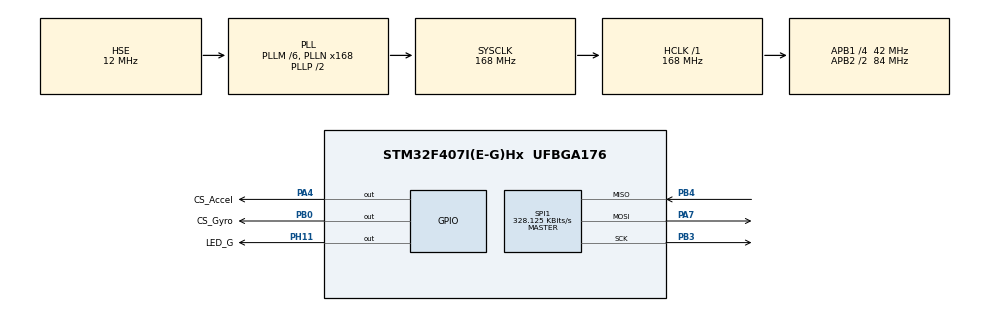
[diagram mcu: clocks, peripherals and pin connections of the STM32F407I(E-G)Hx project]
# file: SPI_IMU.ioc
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Mcu.Family=STM32F4
Mcu.Name=STM32F407I(E-G)Hx
Mcu.Package=UFBGA176
NVIC.PriorityGroup=NVIC_PRIORITYGROUP_4
NVIC.RCC_IRQn=true\:0\:0\:false\:false\:true\:true\:false\:true
NVIC.TIM1_UP_TIM10_IRQn=true\:0\:0\:false\:false\:true\:true\:true\:true
PA13.Mode=Serial_Wire
PA13.Signal=SYS_JTMS-SWDIO
PA14.Mode=Serial_Wire
PA14.Signal=SYS_JTCK-SWCLK
PA4.GPIO_Label=CS_Accel
PA4.PinState=GPIO_PIN_SET
PA4.Signal=GPIO_Output
PA7.Mode=Full_Duplex_Master
PA7.Signal=SPI1_MOSI
PB0.GPIO_Label=CS_Gyro
PB0.PinState=GPIO_PIN_SET
PB0.Signal=GPIO_Output
PB3.Mode=Full_Duplex_Master
PB3.Signal=SPI1_SCK
PB4.Mode=Full_Duplex_Master
PB4.Signal=SPI1_MISO
PH0-OSC_IN.Mode=HSE-External-Oscillator
PH0-OSC_IN.Signal=RCC_OSC_IN
PH1-OSC_OUT.Mode=HSE-External-Oscillator
PH1-OSC_OUT.Signal=RCC_OSC_OUT
PH11.GPIO_Label=LED_G
PH11.Signal=GPIO_Output
ProjectManager.HeapSize=0x200
ProjectManager.StackSize=0x400
ProjectManager.TargetToolchain=MDK-ARM V5.32
RCC.48MHZClocksFreq_Value=84000000
RCC.AHBFreq_Value=168000000
RCC.APB1CLKDivider=RCC_HCLK_DIV4
RCC.APB1Freq_Value=42000000
RCC.APB1TimFreq_Value=84000000
RCC.APB2CLKDivider=RCC_HCLK_DIV2
RCC.APB2Freq_Value=84000000
RCC.APB2TimFreq_Value=168000000
RCC.CortexFreq_Value=168000000
RCC.HCLKFreq_Value=168000000
RCC.HSE_VALUE=12000000
RCC.HSI_VALUE=16000000
RCC.LSE_VALUE=32768
RCC.PLLM=6
RCC.PLLN=168
RCC.PLLSourceVirtual=RCC_PLLSOURCE_HSE
RCC.SYSCLKFreq_VALUE=168000000
RCC.SYSCLKSource=RCC_SYSCLKSOURCE_PLLCLK
RCC.VCOOutputFreq_Value=336000000
SPI1.BaudRatePrescaler=SPI_BAUDRATEPRESCALER_256
SPI1.CLKPhase=SPI_PHASE_2EDGE
SPI1.CLKPolarity=SPI_POLARITY_HIGH
SPI1.CalculateBaudRate=328.125 KBits/s
SPI1.Direction=SPI_DIRECTION_2LINES
SPI1.Mode=SPI_MODE_MASTER
SPI1.VirtualType=VM_MASTER
TIM1.Period=9999
TIM1.Prescaler=1679
VP_TIM1_VS_ClockSourceINT.Mode=Internal
board=custom

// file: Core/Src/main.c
/* USER CODE BEGIN Header */
/**
  ******************************************************************************
  * @file           : main.c
  * @brief          : Main program body
  ******************************************************************************
  * @attention
  *
  * Copyright (c) 2024 STMicroelectronics.
  * All rights reserved.
  *
  * This software is licensed under terms that can be found in the LICENSE file
  * in the root directory of this software component.
  * If no LICENSE file comes with this software, it is provided AS-IS.
  *
  ******************************************************************************
  */
/* USER CODE END Header */
#include "main.h"
#include "spi.h"
#include "tim.h"
#include "gpio.h"
#include "IMU.h"

/* USER CODE BEGIN PV */
uint8_t tx_data={0x00};
uint8_t rx_data=0x00;
uint8_t return_acc_data[7]={0x00};
uint8_t return_gyro_data[6]={0x00};
uint8_t range_acc=0x00;
uint8_t range_acc_receive=0x00;
uint8_t range_gyro=0x00;
float acc_x=0,acc_y=0,acc_z=0;
float gyro_x=0,gyro_y=0,gyro_z=0;
/* USER CODE END PV */

void SystemClock_Config(void);

int main(void)
{

  /* MCU Configuration--------------------------------------------------------*/

  /* Reset of all peripherals, Initializes the Flash interface and the Systick. */
  HAL_Init();

  /* Configure the system clock */
  SystemClock_Config();

  /* Initialize all configured peripherals */
  MX_GPIO_Init();
  MX_SPI1_Init();
  MX_TIM1_Init();
  /* USER CODE BEGIN 2 */
  BMI088_Init();
  BMI088_ReadReg_GYRO(0x00,&rx_data, 1);
  BMI088_ACCEL_NS_L();
  BMI088_WriteReg(0x41,0x02);
  BMI088_ACCEL_NS_H();
  BMI088_ReadReg_ACCEL(0x41,&range_acc_receive,1);
  // if(range_acc_receive==0x00)
  // {
  //   HAL_GPIO_WritePin(LED_G_GPIO_Port,LED_G_Pin,GPIO_PIN_SET);
  // }
  HAL_TIM_Base_Start_IT(&htim1);
  /* USER CODE END 2 */

  /* Infinite loop */
  /* USER CODE BEGIN WHILE */
  while (1)
  {
    // GetAccelData(return_acc_data,range_acc,&acc_x,&acc_y,&acc_z);
    // GetGyroData(return_gyro_data,range_gyro,&gyro_x,&gyro_y,&gyro_z);
    // HAL_Delay(1000);
    /* USER CODE END WHILE */

  }
}

void SystemClock_Config(void)
{
  RCC_OscInitTypeDef RCC_OscInitStruct = {0};
  RCC_ClkInitTypeDef RCC_ClkInitStruct = {0};

  /** Configure the main internal regulator output voltage
  */
  __HAL_RCC_PWR_CLK_ENABLE();
  __HAL_PWR_VOLTAGESCALING_CONFIG(PWR_REGULATOR_VOLTAGE_SCALE1);

  /** Initializes the RCC Oscillators according to the specified parameters
  * in the RCC_OscInitTypeDef structure.
  */
  RCC_OscInitStruct.OscillatorType = RCC_OSCILLATORTYPE_HSE;
  RCC_OscInitStruct.HSEState = RCC_HSE_ON;
  RCC_OscInitStruct.PLL.PLLState = RCC_PLL_ON;
  RCC_OscInitStruct.PLL.PLLSource = RCC_PLLSOURCE_HSE;
  RCC_OscInitStruct.PLL.PLLM = 6;
  RCC_OscInitStruct.PLL.PLLN = 168;
  RCC_OscInitStruct.PLL.PLLP = RCC_PLLP_DIV2;
  RCC_OscInitStruct.PLL.PLLQ = 4;
  if (HAL_RCC_OscConfig(&RCC_OscInitStruct) != HAL_OK)
  {
    Error_Handler();
  }

  /** Initializes the CPU, AHB and APB buses clocks
  */
  RCC_ClkInitStruct.ClockType = RCC_CLOCKTYPE_HCLK|RCC_CLOCKTYPE_SYSCLK
                              |RCC_CLOCKTYPE_PCLK1|RCC_CLOCKTYPE_PCLK2;
  RCC_ClkInitStruct.SYSCLKSource = RCC_SYSCLKSOURCE_PLLCLK;
  RCC_ClkInitStruct.AHBCLKDivider = RCC_SYSCLK_DIV1;
  RCC_ClkInitStruct.APB1CLKDivider = RCC_HCLK_DIV4;
  RCC_ClkInitStruct.APB2CLKDivider = RCC_HCLK_DIV2;

  if (HAL_RCC_ClockConfig(&RCC_ClkInitStruct, FLASH_LATENCY_5) != HAL_OK)
  {
    Error_Handler();
  }
}

void Error_Handler(void)
{
  __disable_irq();
  while (1)
  {
  }
}
